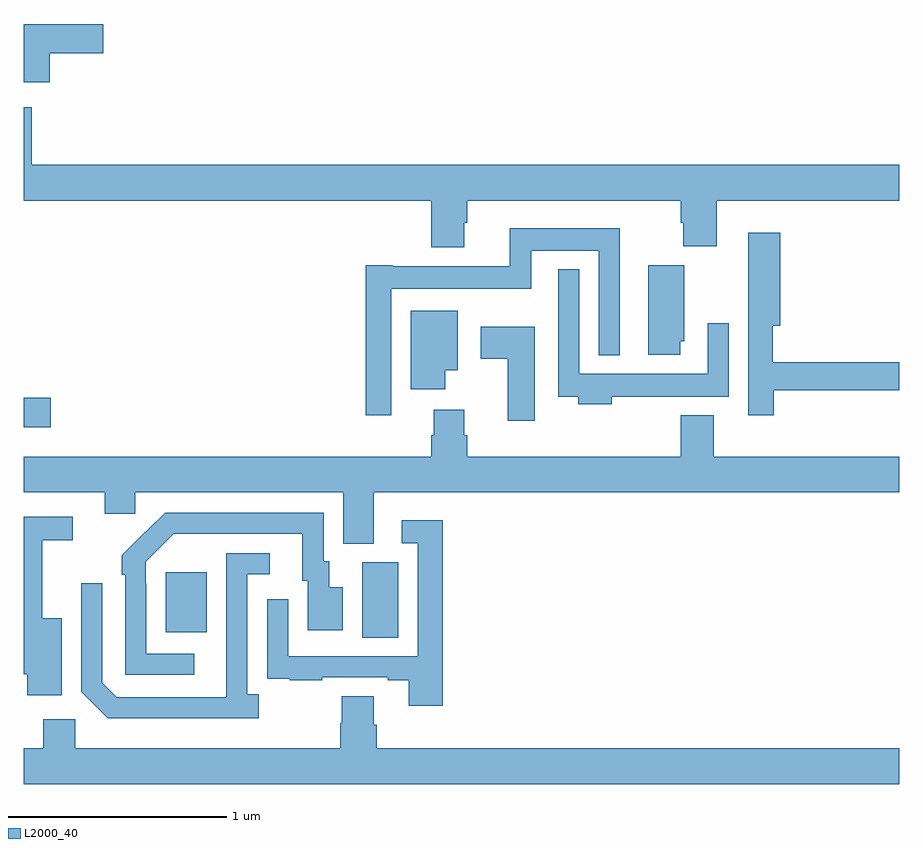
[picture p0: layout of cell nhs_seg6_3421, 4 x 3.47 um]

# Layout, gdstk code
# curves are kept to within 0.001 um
import gdstk
lib = gdstk.Library(unit=1e-6, precision=1e-09)
def R(c, l, rs):  # rectangles x0, y0, x1, y1
    for r in rs: c.add(gdstk.rectangle(r[:2], r[2:], *l))
def P(c, l, *ps):  # polygons
    for p in ps: c.add(gdstk.Polygon(p, *l))
L2000_40 = (2000, 40)

nhs_seg6_3421 = lib.new_cell('nhs_seg6_3421')
R(nhs_seg6_3421, L2000_40, [(314.546,922.696,314.71,923.04), (313.649,922.721,313.837,922.996), (313,923.657,313.123,923.792)])
P(nhs_seg6_3421, L2000_40, [(313.12,925.367),(313.363,925.367),(313.363,925.5),(313,925.5),(313,925.235),(313.12,925.235)],
  [(315.013,924.591),(315.026,924.591),(315.026,924.692),(316.001,924.692),(316.001,924.593),(316.013,924.593),(316.013,924.484),(316.166,924.484),(316.166,924.692),(317,924.692),(317,924.856),(313.037,924.856),(313.037,925.12),(313,925.12),(313,924.692),(314.861,924.692),(314.861,924.479),(315.013,924.479)],
  [(314.679,924.29),(315.318,924.29),(315.318,924.464),(315.627,924.464),(315.627,923.987),(315.724,923.987),(315.724,924.568),(315.221,924.568),(315.221,924.394),(314.686,924.394),(314.686,924.397),(314.563,924.397),(314.563,923.712),(314.679,923.712)],
  [(316.427,923.826),(317,923.826),(317,923.954),(316.423,923.954),(316.423,924.122),(316.457,924.122),(316.457,924.547),(316.31,924.547),(316.31,924.226),(316.311,924.226),(316.311,923.712),(316.427,923.712)],
  [(316,924.051),(316.018,924.051),(316.018,924.399),(315.854,924.399),(315.854,923.988),(316,923.988)],
  [(315.686,923.796),(315.917,923.796),(315.917,923.798),(316.221,923.798),(316.221,924.133),(316.125,924.133),(316.125,923.902),(315.537,923.902),(315.537,924.379),(315.441,924.379),(315.441,923.796),(315.533,923.796),(315.533,923.762),(315.686,923.762)],
  [(314.926,923.918),(314.983,923.918),(314.983,924.19),(314.768,924.19),(314.768,923.832),(314.926,923.832)],
  [(315.334,924.118),(315.087,924.118),(315.087,923.971),(315.212,923.971),(315.212,923.688),(315.334,923.688)],
  [(314.599,923.36),(317,923.36),(317,923.524),(316.153,923.524),(316.153,923.713),(316.001,923.713),(316.001,923.524),(315.026,923.524),(315.026,923.622),(315.013,923.622),(315.013,923.737),(314.873,923.737),(314.873,923.622),(314.861,923.622),(314.861,923.524),(313,923.524),(313,923.36),(313.37,923.36),(313.37,923.262),(313.509,923.262),(313.509,923.36),(314.459,923.36),(314.459,923.125),(314.599,923.125)],
  [(313.78,922.623),(313.56,922.623),(313.56,922.943),(313.557,922.943),(313.557,923.043),(313.686,923.172),(314.273,923.172),(314.273,922.956),(314.297,922.956),(314.297,922.731),(314.458,922.731),(314.458,922.927),(314.395,922.927),(314.395,923.046),(314.37,923.046),(314.37,923.268),(313.646,923.268),(313.449,923.073),(313.449,922.985),(313.464,922.985),(313.464,922.527),(313.78,922.527)],
  [(313.174,922.786),(313.085,922.786),(313.085,923.142),(313.225,923.142),(313.225,923.25),(313,923.25),(313,922.529),(313.016,922.529),(313.016,922.434),(313.174,922.434)],
  [(314.915,923.233),(314.727,923.233),(314.727,923.127),(314.799,923.127),(314.799,922.611),(314.208,922.611),(314.208,922.873),(314.112,922.873),(314.112,922.618),(314.113,922.618),(314.113,922.509),(314.215,922.509),(314.215,922.503),(314.363,922.503),(314.363,922.515),(314.663,922.515),(314.663,922.503),(314.759,922.503),(314.759,922.386),(314.915,922.386)],
  [(314.074,922.438),(314.022,922.438),(314.022,922.986),(314.125,922.986),(314.125,923.082),(313.926,923.082),(313.925,922.425),(313.425,922.425),(313.359,922.491),(313.359,922.945),(313.263,922.945),(313.263,922.449),(313.384,922.328),(314.074,922.328)],
  [(317,922.192),(314.612,922.192),(314.612,922.298),(314.599,922.298),(314.599,922.43),(314.452,922.43),(314.452,922.305),(314.447,922.305),(314.447,922.192),(313.236,922.192),(313.236,922.324),(313.09,922.324),(313.09,922.192),(313,922.192),(313,922.028),(317,922.028)])

lib.write_gds('nhs_seg6_3421.gds')
